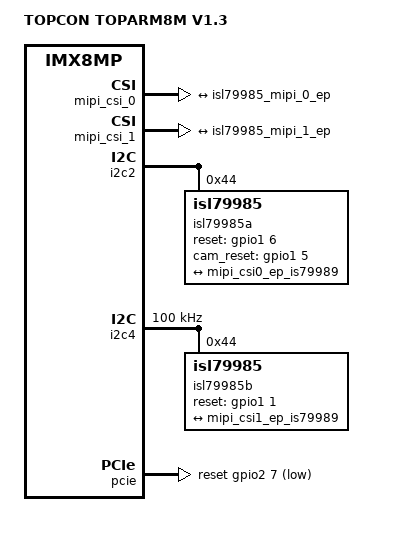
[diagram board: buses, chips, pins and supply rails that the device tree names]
// SPDX-License-Identifier: (GPL-2.0+ OR MIT)
/*
 * Copyright 2021 DFI
 */

/dts-v1/;

#include "imx8mp-trcnw400.dtsi"

/ {
	model = "TOPCON TOPARM8M V1.3";
	compatible = "fsl,imx8mp-evk", "fsl,imx8mp";

};

&mipi_csi_0 {
	#address-cells = <1>;
	#size-cells = <0>;
	status = "okay";

	port@0 {
		reg = <0>;
		mipi_csi0_ep_is79989: endpoint {
			remote-endpoint = <&isl79985_mipi_0_ep>;
			data-lanes = <1>;
			csis-hs-settle = <13>;
			csis-clk-settle = <2>;
			csis-wclk;
		};
	};
};

&mipi_csi_1 {
	#address-cells = <1>;
	#size-cells = <0>;
	status = "okay";

	port@1 {
		reg = <1>;
		mipi_csi1_ep_is79989: endpoint {
			remote-endpoint = <&isl79985_mipi_1_ep>;
			data-lanes = <1>;
			csis-hs-settle = <13>;
			csis-clk-settle = <2>;
			csis-wclk;
		};
	};
};

&i2c2 {
	/* ISL79985 A */
	isl79985a: isl79985_mipi@44 {
		compatible = "isl79985";
		reg = <0x44>;

		pinctrl-names = "default";
		pinctrl-0 = <&pinctrl_isl79985a_rst>;
		csi_id = <0>;
		reset-gpios = <&gpio1 6 GPIO_ACTIVE_HIGH>;
		cam_reset-gpios = <&gpio1 5 GPIO_ACTIVE_HIGH>;
		status = "okay";

		port@0 {
			isl79985_mipi_0_ep: endpoint {
				remote-endpoint = <&mipi_csi0_ep_is79989>;
				data-lanes = <1>;
				clock-lanes = <1>;
			};
		};

	};
};

&i2c4 {
	clock-frequency = <100000>;
	pinctrl-names = "default";
	pinctrl-0 = <&pinctrl_i2c4>;
	status = "okay";


	/* ISL79985 B */
	isl79985b: isl79985_mipi@44 {
		compatible = "isl79985";
		reg = <0x44>;

		pinctrl-names = "default";
		pinctrl-0 = <&pinctrl_isl79985b_rst>;
		csi_id = <0>;
		reset-gpios = <&gpio1 1 GPIO_ACTIVE_HIGH>;
		status = "okay";

		port@0 {
			isl79985_mipi_1_ep: endpoint {
				remote-endpoint = <&mipi_csi1_ep_is79989>;
				data-lanes = <1>;
				clock-lanes = <1>;
			};
		};

	};
};

&pcie{
	pinctrl-names = "default";
	pinctrl-0 = <&pinctrl_pcie>;
	reset-gpio = <&gpio2 7 GPIO_ACTIVE_LOW>;
	clkreq-gpio = <&gpio2 6 GPIO_ACTIVE_LOW>;
	ext_osc = <1>;
	clocks = <&clk IMX8MP_CLK_HSIO_AXI_DIV>,
		 <&clk IMX8MP_CLK_PCIE_AUX>,
		 <&clk IMX8MP_CLK_PCIE_PHY>,
		 <&clk IMX8MP_CLK_PCIE_ROOT>;
	clock-names = "pcie", "pcie_aux", "pcie_phy", "pcie_bus";
	assigned-clocks = <&clk IMX8MP_CLK_HSIO_AXI_SRC>,
			  <&clk IMX8MP_CLK_PCIE_AUX>;
	assigned-clock-parents = <&clk IMX8MP_SYS_PLL2_500M>,
				 <&clk IMX8MP_SYS_PLL2_50M>;
	reserved-region = <&rpmsg_reserved>;
	status = "okay";
};

&iomuxc {
	pinctrl_isl79985a_rst: isl79985a_rst {
		fsl,pins = <
			MX8MP_IOMUXC_GPIO1_IO06__GPIO1_IO06	0x19 /* ISL79985 1st RST */
			MX8MP_IOMUXC_GPIO1_IO05__GPIO1_IO05	0x19 /* Camera RST */
		>;
	};

	pinctrl_isl79985b_rst: isl79985b_rst {
		fsl,pins = <
			MX8MP_IOMUXC_GPIO1_IO01__GPIO1_IO01	0x19 /* ISL79985 2nd RST */
		>;
	};

	pinctrl_i2c4: i2c4grp {
		fsl,pins = <
			MX8MP_IOMUXC_I2C4_SCL__I2C4_SCL			0x400001c3
			MX8MP_IOMUXC_I2C4_SDA__I2C4_SDA			0x400001c3
		>;
	};

	pinctrl_pcie: pciegrp {
		fsl,pins = <
			MX8MP_IOMUXC_SD1_DATA4__GPIO2_IO06		0x41
			MX8MP_IOMUXC_SD1_DATA5__GPIO2_IO07		0x41
		>;
	};
};
